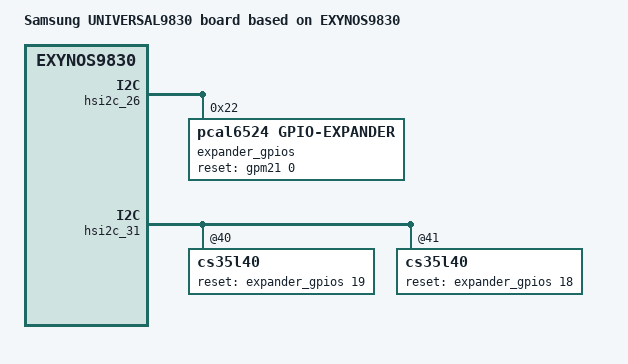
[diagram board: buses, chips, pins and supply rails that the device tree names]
/*
 * SAMSUNG EXYNOS9820 board device tree source
 *
 * Copyright (c) 2019 Samsung Electronics Co., Ltd.
 *		http://www.samsung.com
 *
 * This program is free software; you can redistribute it and/or modify
 * it under the terms of the GNU General Public License version 2 as
 * published by the Free Software Foundation.
*/

/dts-v1/;
/plugin/;
#include "exynos9830-universal9830_common.dtsi"

/ {
	compatible = "samsung,exynos9830", "samsung,UNIVERSAL9830";
	board_id = <0x10>;
	board_rev = <0x0>;

	fragment@model {
		target-path = "/";
		__overlay__ {
			#address-cells = <2>;
			#size-cells = <1>;

			model = "Samsung UNIVERSAL9830 board based on EXYNOS9830";

			firmware {
				android: android {
					compatible = "android,firmware";
					vbmeta {
						compatible = "android,vbmeta";
						parts = "vbmeta,boot,system,vendor";
					};
					fstab {
						compatible = "android,fstab";
						vendor: vendor {
							compatible = "android,vendor";
							dev = "/dev/block/platform/13100000.ufs/by-name/vendor";
							type = "ext4";
							mnt_flags = "ro";
							fsmgr_flags = "wait,avb";
							status = "okay";
						};
					};
				};
			};
		}; /* end of __overlay__ */
	}; /* end of fragment */
}; /* end of root */

&panel_0 {
	/* reset, power */
	gpios = <&gpa3 4 0x1>;
};

&chosen {
	bootargs_ext = "console=ram skip_initramfs rootwait ro init=/init";
};

&hsi2c_26 {
	#address-cells = <1>;
	#size-cells = <0>;
	status = "okay";

	expander_gpios: pcal6524@22 {
		compatible = "pcal6524,gpio-expander";
		gpio-controller;
		#gpio-cells = <2>;
		reg = <0x22>;
		pinctrl-names = "expander_reset_setting";
		pinctrl-0 = <&expander_reset_active>;
		pcal6524,gpio_start = <300>;
		pcal6524,ngpio = <24>;
		pcal6524,reset-gpio = <&gpm21 0 0>;
		pcal6524,support_initialize = <1>;
		/* config, 24 ~ 0, 1bit configure[1:input, 0:output]*/
		pcal6524,config = <0xFFFFFF>;    /* P2[11111111] P1[11111111] P0[11111111] */
		/* data_out, 24 ~ 0, 1bit configure[1:high, 0:low]*/
		pcal6524,data_out = <0x000000>;  /* P2[00000000] P1[00000000] P0[00000000] */
		/* pull_reg, 8 ~ 0, 2bit configure[00:no_pull, 01:pull_down, 10:pull_up, 11:not used] */
		pcal6524,pull_reg_p0 = <0x0000>; /* 00 00 00 00 / 00 00 00 00 */
		pcal6524,pull_reg_p1 = <0x0000>; /* 00 00 00 00 / 00 00 00 00 */
		pcal6524,pull_reg_p2 = <0x0000>; /* 00 00 00 00 / 00 00 00 00 */
	};
};

&hsi2c_31 {
	cs35l40@40 {
		pinctrl-names;
		reset-gpios = <&expander_gpios 19 0>;
	};

	cs35l40@41 {
		pinctrl-names;
		reset-gpios = <&expander_gpios 18 0>;
	};
};

